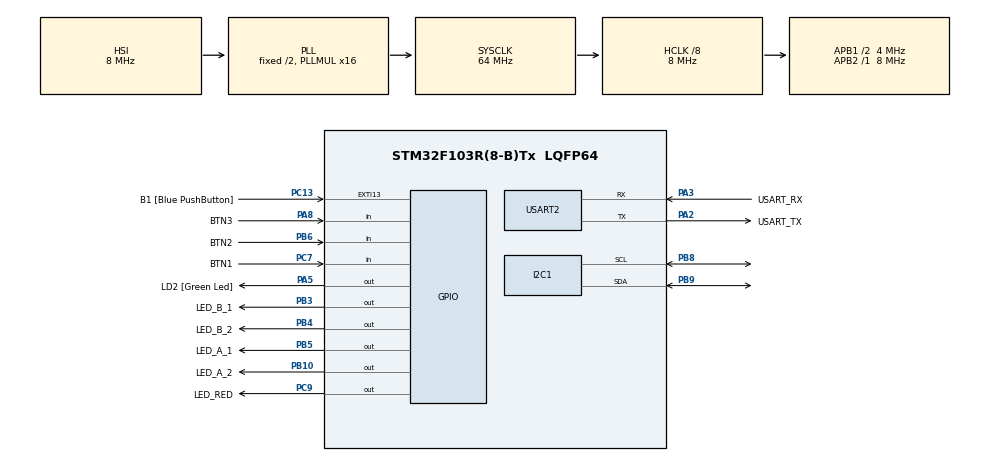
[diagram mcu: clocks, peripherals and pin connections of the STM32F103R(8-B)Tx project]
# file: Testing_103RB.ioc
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Mcu.Family=STM32F1
Mcu.Name=STM32F103R(8-B)Tx
Mcu.Package=LQFP64
NVIC.EXTI15_10_IRQn=true\:0\:0\:false\:false\:true\:true\:true\:true
NVIC.PriorityGroup=NVIC_PRIORITYGROUP_4
NVIC.TIM2_IRQn=true\:0\:0\:false\:false\:true\:true\:true\:true
PA13.GPIO_Label=TMS
PA13.Mode=Serial_Wire
PA13.Signal=SYS_JTMS-SWDIO
PA14.GPIO_Label=TCK
PA14.Mode=Serial_Wire
PA14.Signal=SYS_JTCK-SWCLK
PA2.GPIO_Label=USART_TX
PA2.GPIO_Mode=GPIO_MODE_AF_PP
PA2.GPIO_PuPd=GPIO_NOPULL
PA2.GPIO_Speed=GPIO_SPEED_FREQ_LOW
PA2.Mode=Asynchronous
PA2.Signal=USART2_TX
PA3.GPIO_Label=USART_RX
PA3.GPIO_Mode=GPIO_MODE_AF_PP
PA3.GPIO_PuPd=GPIO_NOPULL
PA3.GPIO_Speed=GPIO_SPEED_FREQ_LOW
PA3.Mode=Asynchronous
PA3.Signal=USART2_RX
PA5.GPIO_Label=LD2 [Green Led]
PA5.GPIO_ModeDefaultOutputPP=GPIO_MODE_OUTPUT_PP
PA5.GPIO_PuPd=GPIO_NOPULL
PA5.GPIO_Speed=GPIO_SPEED_FREQ_LOW
PA5.Signal=GPIO_Output
PA8.GPIO_Label=BTN3
PA8.GPIO_PuPd=GPIO_PULLUP
PA8.Signal=GPIO_Input
PB10.GPIO_Label=LED_A_2
PB10.Signal=GPIO_Output
PB3.GPIO_Label=LED_B_1
PB3.Signal=GPIO_Output
PB4.GPIO_Label=LED_B_2
PB4.Signal=GPIO_Output
PB5.GPIO_Label=LED_A_1
PB5.Signal=GPIO_Output
PB6.GPIO_Label=BTN2
PB6.GPIO_PuPd=GPIO_PULLUP
PB6.Signal=GPIO_Input
PB8.Mode=I2C
PB8.Signal=I2C1_SCL
PB9.Mode=I2C
PB9.Signal=I2C1_SDA
PC13-TAMPER-RTC.GPIO_Label=B1 [Blue PushButton]
PC13-TAMPER-RTC.GPIO_PuPd=GPIO_NOPULL
PC13-TAMPER-RTC.Signal=GPXTI13
PC14-OSC32_IN.Mode=LSE-External-Oscillator
PC14-OSC32_IN.Signal=RCC_OSC32_IN
PC15-OSC32_OUT.Mode=LSE-External-Oscillator
PC15-OSC32_OUT.Signal=RCC_OSC32_OUT
PC7.GPIO_Label=BTN1
PC7.GPIO_PuPd=GPIO_PULLUP
PC7.Signal=GPIO_Input
PC9.GPIO_Label=LED_RED
PC9.Signal=GPIO_Output
PD0-OSC_IN.Mode=HSE-External-Clock-Source
PD0-OSC_IN.Signal=RCC_OSC_IN
PD1-OSC_OUT.Mode=HSE-External-Clock-Source
PD1-OSC_OUT.Signal=RCC_OSC_OUT
ProjectManager.HeapSize=0x200
ProjectManager.StackSize=0x400
ProjectManager.TargetToolchain=STM32CubeIDE
RCC.AHBCLKDivider=RCC_SYSCLK_DIV8
RCC.AHBFreq_Value=8000000
RCC.APB1CLKDivider=RCC_HCLK_DIV2
RCC.APB1Freq_Value=4000000
RCC.APB1TimFreq_Value=8000000
RCC.APB2Freq_Value=8000000
RCC.APB2TimFreq_Value=8000000
RCC.HCLKFreq_Value=8000000
RCC.PLLMUL=RCC_PLL_MUL16
RCC.RTCClockSelection=RCC_RTCCLKSOURCE_LSE
RCC.SYSCLKFreq_VALUE=64000000
RCC.SYSCLKSource=RCC_SYSCLKSOURCE_PLLCLK
RCC.USBFreq_Value=64000000
USART2.VirtualMode=VM_ASYNC
VP_TIM2_VS_ClockSourceINT.Mode=Internal
board=NUCLEO-F103RB

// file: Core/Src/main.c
/* USER CODE BEGIN Header */
/**
 ******************************************************************************
 * @file           : main.c
 * @brief          : Main program body
 ******************************************************************************
 * @attention
 *
 * Copyright (c) 2024 STMicroelectronics.
 * All rights reserved.
 *
 * This software is licensed under terms that can be found in the LICENSE file
 * in the root directory of this software component.
 * If no LICENSE file comes with this software, it is provided AS-IS.
 *
 ******************************************************************************
 */
/* USER CODE END Header */
#include "main.h"

/* USER CODE BEGIN Includes */
#include "fsm_traffic_light.h"
#include "fsm_for_button.h"
#include "i2c-lcd.h"
/* USER CODE END Includes */

//I2C_HandleTypeDef hi2c1;

TIM_HandleTypeDef htim2;

UART_HandleTypeDef huart2;

void SystemClock_Config(void);
static void MX_GPIO_Init(void);
static void MX_USART2_UART_Init(void);
static void MX_TIM2_Init(void);
static void MX_I2C1_Init(void);

/* USER CODE BEGIN 0 */
void BlinkyLED(void) {
	HAL_GPIO_TogglePin(LED_RED_GPIO_Port, LED_RED_Pin);
}
/* USER CODE END 0 */

int main(void)
{

  /* MCU Configuration--------------------------------------------------------*/

  /* Reset of all peripherals, Initializes the Flash interface and the Systick. */
  HAL_Init();

  /* Configure the system clock */
  SystemClock_Config();

  /* Initialize all configured peripherals */
  MX_GPIO_Init();
  MX_USART2_UART_Init();
  MX_TIM2_Init();
  MX_I2C1_Init();

  /* Infinite loop */
  /* USER CODE BEGIN WHILE */
	char str[16];
//	int count = 0;
	HAL_TIM_Base_Start_IT(&htim2);
	Scheduler_Init();

	HAL_Delay(1000);
	lcd_init();
	lcd_goto_XY(1, 0);
	strcpy(str, "MODE: TEST");
	lcd_send_string(str);
	lcd_goto_XY(2, 0);
	lcd_send_string("xin chao mn nho");
	Scheduler_Add_Task(fsm_for_button, 50, 50);
	Scheduler_Add_Task(fsm_for_traffic_light, 500, 1000 / 2);
	Scheduler_Add_Task(BlinkyLED, 200, 500);
	while (1) {
		Scheduler_Dispatch_Tasks();
//		lcd_goto_XY(2, 15);
//		lcd_send_data(count++ + '0');
//		if (count > 10)
//			count = 0;
//		HAL_Delay(1000);
    /* USER CODE END WHILE */

	}
}

void SystemClock_Config(void)
{
  RCC_OscInitTypeDef RCC_OscInitStruct = {0};
  RCC_ClkInitTypeDef RCC_ClkInitStruct = {0};

  /** Initializes the RCC Oscillators according to the specified parameters
  * in the RCC_OscInitTypeDef structure.
  */
  RCC_OscInitStruct.OscillatorType = RCC_OSCILLATORTYPE_HSI;
  RCC_OscInitStruct.HSIState = RCC_HSI_ON;
  RCC_OscInitStruct.HSICalibrationValue = RCC_HSICALIBRATION_DEFAULT;
  RCC_OscInitStruct.PLL.PLLState = RCC_PLL_ON;
  RCC_OscInitStruct.PLL.PLLSource = RCC_PLLSOURCE_HSI_DIV2;
  RCC_OscInitStruct.PLL.PLLMUL = RCC_PLL_MUL16;
  if (HAL_RCC_OscConfig(&RCC_OscInitStruct) != HAL_OK)
  {
    Error_Handler();
  }

  /** Initializes the CPU, AHB and APB buses clocks
  */
  RCC_ClkInitStruct.ClockType = RCC_CLOCKTYPE_HCLK|RCC_CLOCKTYPE_SYSCLK
                              |RCC_CLOCKTYPE_PCLK1|RCC_CLOCKTYPE_PCLK2;
  RCC_ClkInitStruct.SYSCLKSource = RCC_SYSCLKSOURCE_PLLCLK;
  RCC_ClkInitStruct.AHBCLKDivider = RCC_SYSCLK_DIV8;
  RCC_ClkInitStruct.APB1CLKDivider = RCC_HCLK_DIV2;
  RCC_ClkInitStruct.APB2CLKDivider = RCC_HCLK_DIV1;

  if (HAL_RCC_ClockConfig(&RCC_ClkInitStruct, FLASH_LATENCY_2) != HAL_OK)
  {
    Error_Handler();
  }
}

static void MX_I2C1_Init(void)
{

  hi2c1.Instance = I2C1;
  hi2c1.Init.ClockSpeed = 100000;
  hi2c1.Init.DutyCycle = I2C_DUTYCYCLE_2;
  hi2c1.Init.OwnAddress1 = 0;
  hi2c1.Init.AddressingMode = I2C_ADDRESSINGMODE_7BIT;
  hi2c1.Init.DualAddressMode = I2C_DUALADDRESS_DISABLE;
  hi2c1.Init.OwnAddress2 = 0;
  hi2c1.Init.GeneralCallMode = I2C_GENERALCALL_DISABLE;
  hi2c1.Init.NoStretchMode = I2C_NOSTRETCH_DISABLE;
  if (HAL_I2C_Init(&hi2c1) != HAL_OK)
  {
    Error_Handler();
  }

}

static void MX_TIM2_Init(void)
{

  TIM_ClockConfigTypeDef sClockSourceConfig = {0};
  TIM_MasterConfigTypeDef sMasterConfig = {0};

  htim2.Instance = TIM2;
  htim2.Init.Prescaler = 0;
  htim2.Init.CounterMode = TIM_COUNTERMODE_UP;
  htim2.Init.Period = 65535;
  htim2.Init.ClockDivision = TIM_CLOCKDIVISION_DIV1;
  htim2.Init.AutoReloadPreload = TIM_AUTORELOAD_PRELOAD_DISABLE;
  if (HAL_TIM_Base_Init(&htim2) != HAL_OK)
  {
    Error_Handler();
  }
  sClockSourceConfig.ClockSource = TIM_CLOCKSOURCE_INTERNAL;
  if (HAL_TIM_ConfigClockSource(&htim2, &sClockSourceConfig) != HAL_OK)
  {
    Error_Handler();
  }
  sMasterConfig.MasterOutputTrigger = TIM_TRGO_RESET;
  sMasterConfig.MasterSlaveMode = TIM_MASTERSLAVEMODE_DISABLE;
  if (HAL_TIMEx_MasterConfigSynchronization(&htim2, &sMasterConfig) != HAL_OK)
  {
    Error_Handler();
  }

}

static void MX_USART2_UART_Init(void)
{

  huart2.Instance = USART2;
  huart2.Init.BaudRate = 115200;
  huart2.Init.WordLength = UART_WORDLENGTH_8B;
  huart2.Init.StopBits = UART_STOPBITS_1;
  huart2.Init.Parity = UART_PARITY_NONE;
  huart2.Init.Mode = UART_MODE_TX_RX;
  huart2.Init.HwFlowCtl = UART_HWCONTROL_NONE;
  huart2.Init.OverSampling = UART_OVERSAMPLING_16;
  if (HAL_UART_Init(&huart2) != HAL_OK)
  {
    Error_Handler();
  }

}

static void MX_GPIO_Init(void)
{
  GPIO_InitTypeDef GPIO_InitStruct = {0};

  /* GPIO Ports Clock Enable */
  __HAL_RCC_GPIOC_CLK_ENABLE();
  __HAL_RCC_GPIOD_CLK_ENABLE();
  __HAL_RCC_GPIOA_CLK_ENABLE();
  __HAL_RCC_GPIOB_CLK_ENABLE();

  /*Configure GPIO pin Output Level */
  HAL_GPIO_WritePin(LD2_GPIO_Port, LD2_Pin, GPIO_PIN_RESET);

  /*Configure GPIO pin Output Level */
  HAL_GPIO_WritePin(GPIOB, LED_A_2_Pin|LED_B_1_Pin|LED_B_2_Pin|LED_A_1_Pin, GPIO_PIN_RESET);

  /*Configure GPIO pin Output Level */
  HAL_GPIO_WritePin(LED_RED_GPIO_Port, LED_RED_Pin, GPIO_PIN_RESET);

  /*Configure GPIO pin : B1_Pin */
  GPIO_InitStruct.Pin = B1_Pin;
  GPIO_InitStruct.Mode = GPIO_MODE_IT_RISING;
  GPIO_InitStruct.Pull = GPIO_NOPULL;
  HAL_GPIO_Init(B1_GPIO_Port, &GPIO_InitStruct);

  /*Configure GPIO pin : LD2_Pin */
  GPIO_InitStruct.Pin = LD2_Pin;
  GPIO_InitStruct.Mode = GPIO_MODE_OUTPUT_PP;
  GPIO_InitStruct.Pull = GPIO_NOPULL;
  GPIO_InitStruct.Speed = GPIO_SPEED_FREQ_LOW;
  HAL_GPIO_Init(LD2_GPIO_Port, &GPIO_InitStruct);

  /*Configure GPIO pins : LED_A_2_Pin LED_B_1_Pin LED_B_2_Pin LED_A_1_Pin */
  GPIO_InitStruct.Pin = LED_A_2_Pin|LED_B_1_Pin|LED_B_2_Pin|LED_A_1_Pin;
  GPIO_InitStruct.Mode = GPIO_MODE_OUTPUT_PP;
  GPIO_InitStruct.Pull = GPIO_NOPULL;
  GPIO_InitStruct.Speed = GPIO_SPEED_FREQ_LOW;
  HAL_GPIO_Init(GPIOB, &GPIO_InitStruct);

  /*Configure GPIO pin : BTN1_Pin */
  GPIO_InitStruct.Pin = BTN1_Pin;
  GPIO_InitStruct.Mode = GPIO_MODE_INPUT;
  GPIO_InitStruct.Pull = GPIO_PULLUP;
  HAL_GPIO_Init(BTN1_GPIO_Port, &GPIO_InitStruct);

  /*Configure GPIO pin : LED_RED_Pin */
  GPIO_InitStruct.Pin = LED_RED_Pin;
  GPIO_InitStruct.Mode = GPIO_MODE_OUTPUT_PP;
  GPIO_InitStruct.Pull = GPIO_NOPULL;
  GPIO_InitStruct.Speed = GPIO_SPEED_FREQ_LOW;
  HAL_GPIO_Init(LED_RED_GPIO_Port, &GPIO_InitStruct);

  /*Configure GPIO pin : BTN3_Pin */
  GPIO_InitStruct.Pin = BTN3_Pin;
  GPIO_InitStruct.Mode = GPIO_MODE_INPUT;
  GPIO_InitStruct.Pull = GPIO_PULLUP;
  HAL_GPIO_Init(BTN3_GPIO_Port, &GPIO_InitStruct);

  /*Configure GPIO pin : BTN2_Pin */
  GPIO_InitStruct.Pin = BTN2_Pin;
  GPIO_InitStruct.Mode = GPIO_MODE_INPUT;
  GPIO_InitStruct.Pull = GPIO_PULLUP;
  HAL_GPIO_Init(BTN2_GPIO_Port, &GPIO_InitStruct);

  /* EXTI interrupt init*/
  HAL_NVIC_SetPriority(EXTI15_10_IRQn, 0, 0);
  HAL_NVIC_EnableIRQ(EXTI15_10_IRQn);

}

/* USER CODE BEGIN 4 */
void HAL_TIM_PeriodElapsedCallback(TIM_HandleTypeDef *htim) {
	if (htim->Instance == TIM2) {
		Scheduler_Update();
		button_reading();
	}
}
/* USER CODE END 4 */

void Error_Handler(void)
{
	__disable_irq();
	while (1) {
	}
}
